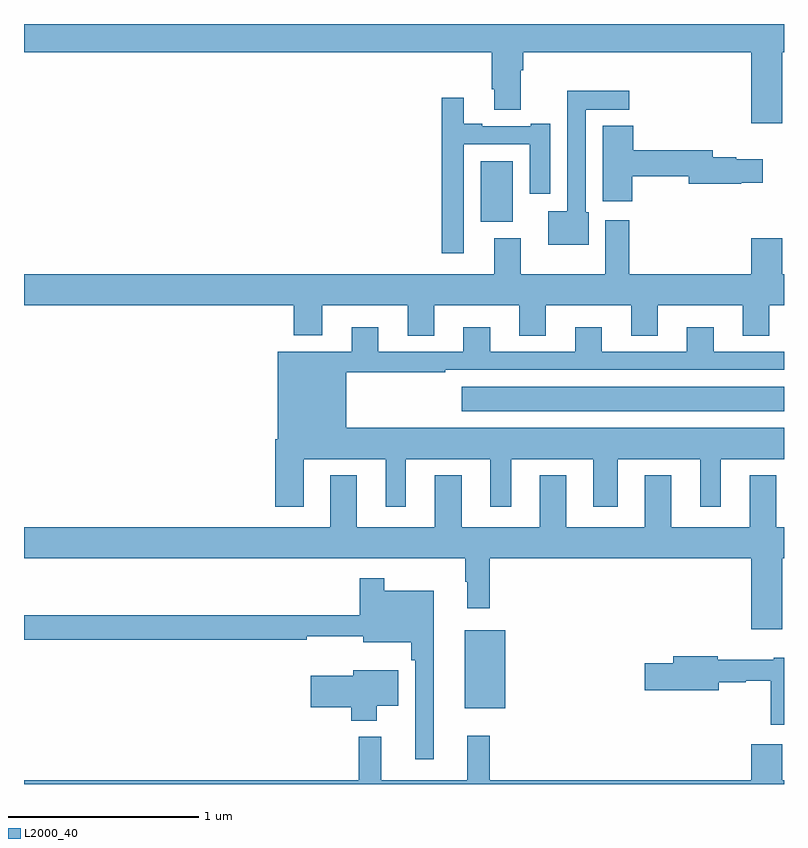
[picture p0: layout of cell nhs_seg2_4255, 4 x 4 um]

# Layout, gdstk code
import gdstk
lib = gdstk.Library(unit=1e-6, precision=1e-09)
def R(c, l, rs):  # rectangles x0, y0, x1, y1
    for r in rs: c.add(gdstk.rectangle(r[:2], r[2:], *l))
def P(c, l, *ps):  # polygons
    for p in ps: c.add(gdstk.Polygon(p, *l))
L2000_40 = (2000, 40)

nhs_seg2_4255 = lib.new_cell('nhs_seg2_4255')
R(nhs_seg2_4255, L2000_40, [(343.319,628.199,343.534,628.609), (343.305,629.762,345,629.89), (343.403,630.758,343.573,631.078)])
P(nhs_seg2_4255, L2000_40, [(344.992,631.652),(345,631.652),(345,631.8),(341,631.8),(341,631.652),(343.463,631.652),(343.463,631.456),(343.475,631.456),(343.475,631.348),(343.615,631.348),(343.615,631.556),(343.628,631.556),(343.628,631.652),(344.828,631.652),(344.828,631.278),(344.992,631.278)],
  [(343.972,630.81),(343.956,630.81),(343.956,631.35),(344.185,631.35),(344.185,631.448),(343.86,631.448),(343.86,630.814),(343.76,630.814),(343.76,630.638),(343.972,630.638)],
  [(343.314,631.167),(343.661,631.167),(343.661,630.906),(343.771,630.906),(343.771,631.276),(343.667,631.276),(343.667,631.263),(343.411,631.263),(343.411,631.276),(343.315,631.276),(343.315,631.411),(343.198,631.411),(343.198,630.594),(343.314,630.594)],
  [(344.202,631),(344.498,631),(344.498,630.958),(344.774,630.958),(344.774,630.965),(344.887,630.965),(344.887,631.087),(344.748,631.087),(344.748,631.1),(344.626,631.1),(344.626,631.136),(344.207,631.136),(344.207,631.265),(344.045,631.265),(344.045,630.867),(344.202,630.867)],
  [(343.159,630.32),(343.607,630.32),(343.607,630.16),(343.747,630.16),(343.747,630.32),(344.195,630.32),(344.195,630.16),(344.335,630.16),(344.335,630.32),(344.783,630.32),(344.783,630.16),(344.923,630.16),(344.923,630.32),(345,630.32),(345,630.484),(344.992,630.484),(344.992,630.673),(344.828,630.673),(344.828,630.484),(344.186,630.484),(344.186,630.766),(344.06,630.766),(344.06,630.484),(343.615,630.484),(343.615,630.673),(343.475,630.673),(343.475,630.484),(341,630.484),(341,630.32),(342.419,630.32),(342.419,630.161),(342.571,630.161),(342.571,630.32),(343.019,630.32),(343.019,630.16),(343.159,630.16)],
  [(342.472,629.51),(342.905,629.51),(342.905,629.259),(343.009,629.259),(343.009,629.51),(343.454,629.51),(343.454,629.259),(343.564,629.259),(343.564,629.51),(343.997,629.51),(343.997,629.259),(344.125,629.259),(344.125,629.51),(344.558,629.51),(344.558,629.259),(344.668,629.259),(344.668,629.51),(345,629.51),(345,629.674),(342.697,629.674),(342.697,629.967),(343.217,629.967),(343.217,629.979),(345,629.979),(345,630.075),(344.629,630.075),(344.629,630.205),(344.489,630.205),(344.489,630.075),(344.041,630.075),(344.041,630.205),(343.901,630.205),(343.901,630.075),(343.453,630.075),(343.453,630.205),(343.313,630.205),(343.313,630.075),(342.865,630.075),(342.865,630.205),(342.725,630.205),(342.725,630.076),(342.335,630.076),(342.335,629.614),(342.323,629.614),(342.323,629.259),(342.472,629.259)],
  [(344.992,628.988),(345,628.988),(345,629.152),(344.959,629.152),(344.959,629.425),(344.819,629.425),(344.819,629.152),(344.407,629.152),(344.407,629.425),(344.267,629.425),(344.267,629.152),(343.855,629.152),(343.855,629.425),(343.715,629.425),(343.715,629.152),(343.303,629.152),(343.303,629.425),(343.163,629.425),(343.163,629.152),(342.751,629.152),(342.751,629.425),(342.611,629.425),(342.611,629.152),(341,629.152),(341,628.988),(343.323,628.988),(343.323,628.865),(343.334,628.865),(343.334,628.725),(343.451,628.725),(343.451,628.988),(344.828,628.988),(344.828,628.614),(344.992,628.614)],
  [(343.156,628.816),(342.895,628.816),(342.895,628.882),(342.766,628.882),(342.766,628.687),(341,628.687),(341,628.558),(342.489,628.558),(342.489,628.577),(342.785,628.577),(342.785,628.547),(343.039,628.547),(343.039,628.451),(343.059,628.451),(343.059,627.93),(343.156,627.93)],
  [(345,628.465),(344.946,628.465),(344.946,628.453),(344.652,628.453),(344.652,628.472),(344.417,628.472),(344.417,628.436),(344.268,628.436),(344.268,628.294),(344.656,628.294),(344.656,628.336),(344.799,628.336),(344.799,628.344),(344.93,628.344),(344.93,628.113),(345,628.113)],
  [(342.856,628.211),(342.97,628.211),(342.97,628.399),(342.734,628.399),(342.734,628.369),(342.51,628.369),(342.51,628.204),(342.722,628.204),(342.722,628.133),(342.856,628.133)],
  [(344.828,628.009),(344.828,627.82),(343.451,627.82),(343.451,628.054),(343.334,628.054),(343.334,627.82),(342.881,627.82),(342.881,628.048),(342.763,628.048),(342.763,627.82),(341,627.82),(341,627.8),(345,627.8),(345,627.82),(344.992,627.82),(344.992,628.009)])

lib.write_gds('nhs_seg2_4255.gds')
